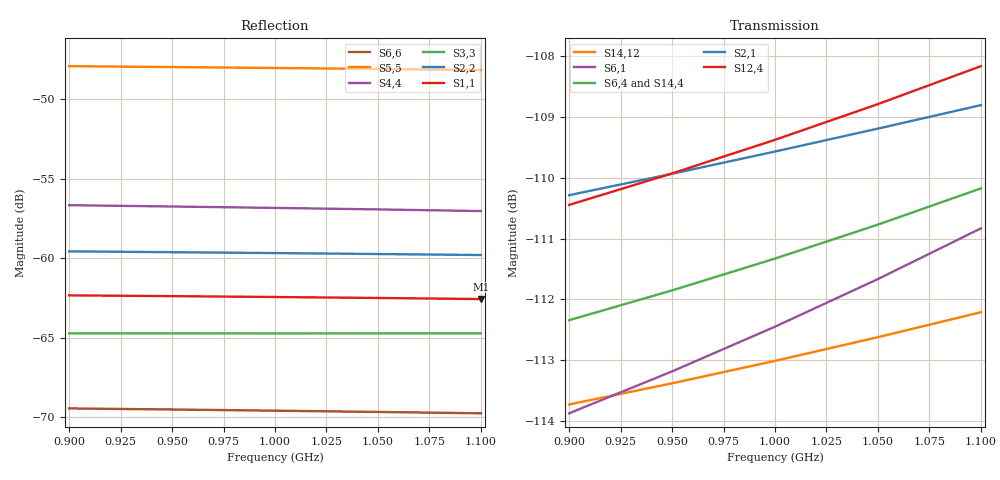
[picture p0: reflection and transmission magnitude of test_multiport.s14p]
! Touchstone file from project test_multiport
! Exported from HFSS 2019.2.0
!Data is not renormalized
# GHZ S MA
! Modal data exported
! Port[1] = 1:1
! Port[2] = 2:1
! Port[3] = 3:1
! Port[4] = 4:1
! Port[5] = 5:1
! Port[6] = 6:1
! Port[7] = 7:1
! Port[8] = 8:1
! Port[9] = 9:1
! Port[10] = 10:1
! Port[11] = 11:1
! Port[12] = 12:1
! Port[13] = 13:1
! Port[14] = 14:1
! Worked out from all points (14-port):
!   5 points, 900 MHz to 1.1 GHz, reference per port
!   strongest paths, dB at 900 MHz, 950 MHz, 1 GHz, 1.05 GHz, 1.1 GHz:
!     S12,4: -110.4, -109.9, -109.4, -108.8, -108.2
!     S2,1: -110.3, -109.9, -109.6, -109.2, -108.8
!     S6,4: -112.3, -111.9, -111.3, -110.8, -110.2
!     S14,4: -112.0, -111.7, -111.3, -110.9, -110.5
!     S6,1: -113.9, -113.2, -112.4, -111.7, -110.8
!     S14,12: -113.7, -113.4, -113.0, -112.6, -112.2
!   lowest |S11| = -62.6 dB at 1.1 GHz (marker M1), VSWR 1.00
!   |S11| at or under -10 dB: start of sweep to end of sweep
